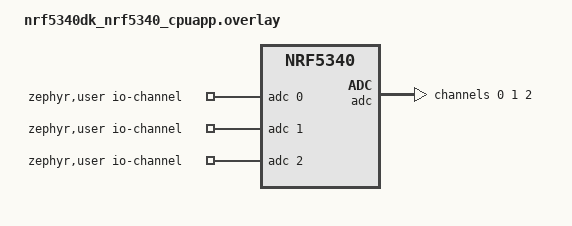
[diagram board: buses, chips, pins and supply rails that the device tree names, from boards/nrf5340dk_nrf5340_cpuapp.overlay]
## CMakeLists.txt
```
cmake_minimum_required(VERSION 3.20.0)

find_package(Zephyr REQUIRED HINTS $ENV{ZEPHYR_BASE})
project(adc_ble)

target_sources(app PRIVATE
  src/main.c
  src/my_lbs.c
  src/adc.c
)

zephyr_library_include_directories(.)
```

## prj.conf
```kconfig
CONFIG_DK_LIBRARY=y

CONFIG_BT=y
CONFIG_BT_PERIPHERAL=y
CONFIG_BT_DEVICE_NAME="r26_5340"

CONFIG_SYSTEM_WORKQUEUE_STACK_SIZE=2048
CONFIG_MAIN_STACK_SIZE=2048

CONFIG_ADC=y
CONFIG_ADC_NRFX_SAADC=y
```

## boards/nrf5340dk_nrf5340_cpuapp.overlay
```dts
/{
	zephyr,user {
		io-channels = <&adc 0>, <&adc 1>, <&adc 2>;
	};
};

&adc {
	status = "okay";
	#address-cells = <1>;
	#size-cells = <0>;

	channel@0 {
		reg = <0>;
		zephyr,gain = "ADC_GAIN_1_6";
		zephyr,reference = "ADC_REF_INTERNAL";
		zephyr,acquisition-time = <ADC_ACQ_TIME_DEFAULT>;
		zephyr,input-positive = <NRF_SAADC_AIN2>; /* P0.06, X */
		zephyr,resolution = <12>;
	};

	channel@1 {
		reg = <1>;
		zephyr,gain = "ADC_GAIN_1_6";
		zephyr,reference = "ADC_REF_INTERNAL";
		zephyr,acquisition-time = <ADC_ACQ_TIME_DEFAULT>;
		zephyr,input-positive = <NRF_SAADC_AIN1>; /* P0.05, Y */
		zephyr,resolution = <12>;
		//zephyr,oversampling = <8>;
	};

	channel@2 {
		reg = <2>;
		zephyr,gain = "ADC_GAIN_1_6";
		zephyr,reference = "ADC_REF_INTERNAL";
		zephyr,acquisition-time = <ADC_ACQ_TIME_DEFAULT>;
		zephyr,input-positive = <NRF_SAADC_AIN0>; /* P0.04, Z */
		zephyr,resolution = <12>;
		//zephyr,oversampling = <8>;
	};
};
```

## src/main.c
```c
#include <zephyr/kernel.h>
#include <zephyr/bluetooth/bluetooth.h>
#include <zephyr/bluetooth/conn.h>
#include <zephyr/bluetooth/uuid.h>
#include <dk_buttons_and_leds.h>
#include "my_lbs.h"
#include "adc.h"

static const struct bt_le_adv_param *adv_param = BT_LE_ADV_PARAM(
	(BT_LE_ADV_OPT_CONN | BT_LE_ADV_OPT_USE_IDENTITY),
	800, 801, NULL);

#define DEVICE_NAME             CONFIG_BT_DEVICE_NAME
#define DEVICE_NAME_LEN         (sizeof(DEVICE_NAME) - 1)

#define RUN_STATUS_LED          DK_LED1
#define CON_STATUS_LED          DK_LED2
#define USER_LED                DK_LED3
#define USER_BUTTON             DK_BTN1_MSK
#define ORIENTATION_BUTTON      DK_BTN2_MSK

#define STACKSIZE               1024
#define PRIORITY                7
#define RUN_LED_BLINK_INTERVAL  1000
#define NOTIFY_INTERVAL         1000

static bool app_button_state;
static uint16_t orientation = 0;
static struct k_work adv_work;

static const struct bt_data ad[] = {
	BT_DATA_BYTES(BT_DATA_FLAGS, (BT_LE_AD_GENERAL | BT_LE_AD_NO_BREDR)),
	BT_DATA(BT_DATA_NAME_COMPLETE, DEVICE_NAME, DEVICE_NAME_LEN),

};

static const struct bt_data sd[] = {
	BT_DATA_BYTES(BT_DATA_UUID128_ALL, BT_UUID_LBS_VAL),
};

static void adv_work_handler(struct k_work *work)
{
	int err = bt_le_adv_start(adv_param, ad, ARRAY_SIZE(ad), sd, ARRAY_SIZE(sd));
	if (err) return;
}

static void advertising_start(void) { k_work_submit(&adv_work); }

static void recycled_cb(void) { advertising_start(); }

static void app_led_cb(bool led_state) { dk_set_led(USER_LED, led_state); }

static bool app_button_cb(void) { return app_button_state; }

void send_data_thread(void)
{
	while (1) {
	    struct SensorData data = readADCValue(orientation);
		my_lbs_send_sensor_notify(&data);

		printk("x=%d, y=%d, z=%d, Orientation=%d\n", data.x, data.y, data.z, data.orientation);
        k_sleep(K_MSEC(NOTIFY_INTERVAL));
	}
}

static struct my_lbs_cb app_callbacks = {
	.led_cb = app_led_cb,
	.button_cb = app_button_cb,
};

static void button_changed(uint32_t button_state, uint32_t has_changed)
{
	if (has_changed & USER_BUTTON) {
		uint32_t user_button_state = button_state & USER_BUTTON;
		my_lbs_send_button_state_indicate(user_button_state);
		app_button_state = user_button_state ? true : false;
	}

    if (has_changed & ORIENTATION_BUTTON) {
        if (button_state & ORIENTATION_BUTTON) {
            orientation = (orientation + 1) % 6;
        }
    }
}
static void on_connected(struct bt_conn *conn, uint8_t err)
{
	dk_set_led_on(CON_STATUS_LED);
    if (err) return;
}

static void on_disconnected(struct bt_conn *conn, uint8_t reason)
{
	dk_set_led_off(CON_STATUS_LED);
}

struct bt_conn_cb connection_callbacks = {
	.connected = on_connected,
	.disconnected = on_disconnected,
	.recycled = recycled_cb,
};

static int init_button(void)
{
	return dk_buttons_init(button_changed);
}

int main(void)
{
	bool led_on = false;
	int err;

	err = dk_leds_init();
	if (err) return -1;

	if (init_button()) return -1;

	if (bt_enable(NULL)) return -1;
	bt_conn_cb_register(&connection_callbacks);

	if (my_lbs_init(&app_callbacks)) return -1;

    if (initializeADC() != 0) return -1;

	k_work_init(&adv_work, adv_work_handler);
	advertising_start();

	while (1) {
        led_on = !led_on;
		dk_set_led(RUN_STATUS_LED, led_on);
		k_sleep(K_MSEC(RUN_LED_BLINK_INTERVAL));
	}
}

K_THREAD_DEFINE(send_data_thread_id, STACKSIZE, send_data_thread, NULL, NULL, NULL, PRIORITY, 0, 0);
```

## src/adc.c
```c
#include <zephyr/device.h>
#include <zephyr/drivers/adc.h>
#include "adc.h"

#if !DT_NODE_EXISTS(DT_PATH(zephyr_user)) || \
	!DT_NODE_HAS_PROP(DT_PATH(zephyr_user), io_channels)
#error "No suitable devicetree overlay specified"
#endif

#define DT_SPEC_AND_COMMA(node_id, prop, idx) ADC_DT_SPEC_GET_BY_IDX(node_id, idx),

static const struct adc_dt_spec adc_channels[] = {
	DT_FOREACH_PROP_ELEM(DT_PATH(zephyr_user), io_channels, DT_SPEC_AND_COMMA)
};

int initializeADC(void)
{
    int err;

	for (size_t i = 0U; i < ARRAY_SIZE(adc_channels); i++) {
	    if (!device_is_ready(adc_channels[i].dev)) {
			return -ENODEV;
		}

		err = adc_channel_setup_dt(&adc_channels[i]);
		if (err < 0) {
			return err;
		}
	}
    return 0;
}

struct SensorData readADCValue(uint16_t orientation)
{
    struct SensorData s = { .orientation = orientation };
	int16_t raw_buf;
    struct adc_sequence seq = {
	  .buffer = &raw_buf,
	  .buffer_size = sizeof(raw_buf),
    };

	for (size_t i = 0U; i < ARRAY_SIZE(adc_channels); i++) {
		int err;
        int32_t val_mv = 0;

		(void)adc_sequence_init_dt(&adc_channels[i], &seq);
		err = adc_read(adc_channels[i].dev, &seq);
		if (err < 0) continue;

		val_mv = raw_buf;
		err = adc_raw_to_millivolts_dt(&adc_channels[i],&val_mv);
		if (err < 0) continue;

        switch (i) {
            case 0: s.x = val_mv; break;
            case 1: s.y = val_mv; break;
            case 2: s.z = val_mv; break;
            default: break;
        }
	}
    return s;
}
```

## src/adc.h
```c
#ifndef ADC_H_KJJ
#define ADC_H_KJJ

#include <stdint.h>

struct SensorData {
    uint16_t x;
    uint16_t y;
    uint16_t z;
    uint16_t orientation;
};

int initializeADC(void);
struct SensorData readADCValue(uint16_t orientation);

#endif
```

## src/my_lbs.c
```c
#include <zephyr/bluetooth/bluetooth.h>
#include <zephyr/bluetooth/gatt.h>
#include "my_lbs.h"

static bool notify_mysensor_enabled;
static bool indicate_enabled;
static bool button_state;
static struct my_lbs_cb lbs_cb;
static struct bt_gatt_indicate_params ind_params;

static void mylbsbc_ccc_cfg_changed(const struct bt_gatt_attr *attr, uint16_t value)
{
	indicate_enabled = (value == BT_GATT_CCC_INDICATE);
}

static void mylbsbc_ccc_mysensor_cfg_changed(const struct bt_gatt_attr *attr, uint16_t value)
{
	notify_mysensor_enabled = (value == BT_GATT_CCC_NOTIFY);
}

static void indicate_cb(struct bt_conn *conn, struct bt_gatt_indicate_params *params, uint8_t err)
{

}

static ssize_t write_led(struct bt_conn *conn, const struct bt_gatt_attr *attr,
                         const void *buf, uint16_t len, uint16_t offset, uint8_t flags)
{
	if (len != 1U) {
		return BT_GATT_ERR(BT_ATT_ERR_INVALID_ATTRIBUTE_LEN);
	}

	if (offset != 0) {
		return BT_GATT_ERR(BT_ATT_ERR_INVALID_OFFSET);
	}

	if (lbs_cb.led_cb) {
		uint8_t val = *((uint8_t *)buf);
		if (val == 0x00 || val == 0x01) {
		    lbs_cb.led_cb(val ? true : false);
		} else {
		    return BT_GATT_ERR(BT_ATT_ERR_VALUE_NOT_ALLOWED);
		}
	}
	return len;
}

static ssize_t read_button(struct bt_conn *conn, const struct bt_gatt_attr *attr,
                           void *buf, uint16_t len, uint16_t offset)
{
	if (lbs_cb.button_cb) {
		button_state = lbs_cb.button_cb();
		return bt_gatt_attr_read(conn, attr, buf, len, offset, &button_state, sizeof(button_state));
	}
	return 0;
}

BT_GATT_SERVICE_DEFINE(my_lbs_svc,
    BT_GATT_PRIMARY_SERVICE(BT_UUID_LBS),
	BT_GATT_CHARACTERISTIC(BT_UUID_LBS_BUTTON,
                           BT_GATT_CHRC_READ | BT_GATT_CHRC_INDICATE,
			               BT_GATT_PERM_READ,
                           read_button, NULL, &button_state),
	BT_GATT_CCC(mylbsbc_ccc_cfg_changed, BT_GATT_PERM_READ | BT_GATT_PERM_WRITE),

	BT_GATT_CHARACTERISTIC(BT_UUID_LBS_LED,
                           BT_GATT_CHRC_WRITE,
                           BT_GATT_PERM_WRITE,
                           NULL, write_led, NULL),

	BT_GATT_CHARACTERISTIC(BT_UUID_LBS_MYSENSOR,
                           BT_GATT_CHRC_NOTIFY,
                           BT_GATT_PERM_NONE,
                           NULL, NULL, NULL),
	BT_GATT_CCC(mylbsbc_ccc_mysensor_cfg_changed, BT_GATT_PERM_READ | BT_GATT_PERM_WRITE)
);

int my_lbs_init(struct my_lbs_cb *callbacks)
{
	if (callbacks) {
	    lbs_cb = *callbacks;
	}
	return 0;
}

int my_lbs_send_button_state_indicate(bool state)
{
	if (!indicate_enabled) {
		return -EACCES;
	}

	ind_params.attr = &my_lbs_svc.attrs[2];
	ind_params.func = indicate_cb;
	ind_params.destroy = NULL;
	ind_params.data = &state;
	ind_params.len = sizeof(state);

	return bt_gatt_indicate(NULL, &ind_params);
}

int my_lbs_send_sensor_notify(struct SensorData *data)
{
	if (!notify_mysensor_enabled) {
		return -EACCES;
	}
	return bt_gatt_notify(NULL, &my_lbs_svc.attrs[7], data, sizeof(*data));
}
```

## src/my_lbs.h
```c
#ifndef MY_LBS_H_
#define MY_LBS_H_

#ifdef __cplusplus
extern "C" {
#endif

#include <zephyr/types.h>
#include "adc.h"

#define BT_UUID_LBS_VAL             BT_UUID_128_ENCODE(0x00001523, 0x1212, 0xefde, 0x1523, 0x785feabcd123)
#define BT_UUID_LBS_BUTTON_VAL      BT_UUID_128_ENCODE(0x00001524, 0x1212, 0xefde, 0x1523, 0x785feabcd123)
#define BT_UUID_LBS_LED_VAL         BT_UUID_128_ENCODE(0x00001525, 0x1212, 0xefde, 0x1523, 0x785feabcd123)
#define BT_UUID_LBS_MYSENSOR_VAL    BT_UUID_128_ENCODE(0x00001526, 0x1212, 0xefde, 0x1523, 0x785feabcd123)

#define BT_UUID_LBS                 BT_UUID_DECLARE_128(BT_UUID_LBS_VAL)
#define BT_UUID_LBS_BUTTON          BT_UUID_DECLARE_128(BT_UUID_LBS_BUTTON_VAL)
#define BT_UUID_LBS_LED             BT_UUID_DECLARE_128(BT_UUID_LBS_LED_VAL)
#define BT_UUID_LBS_MYSENSOR        BT_UUID_DECLARE_128(BT_UUID_LBS_MYSENSOR_VAL)

typedef void (*led_cb_t)(const bool led_state);
typedef bool (*button_cb_t)(void);

struct my_lbs_cb {
	led_cb_t led_cb;
	button_cb_t button_cb;
};

int my_lbs_init(struct my_lbs_cb *callbacks);
int my_lbs_send_button_state_indicate(bool button_state);
int my_lbs_send_sensor_notify(struct SensorData *data);

#ifdef __cplusplus
}
#endif

#endif
```
